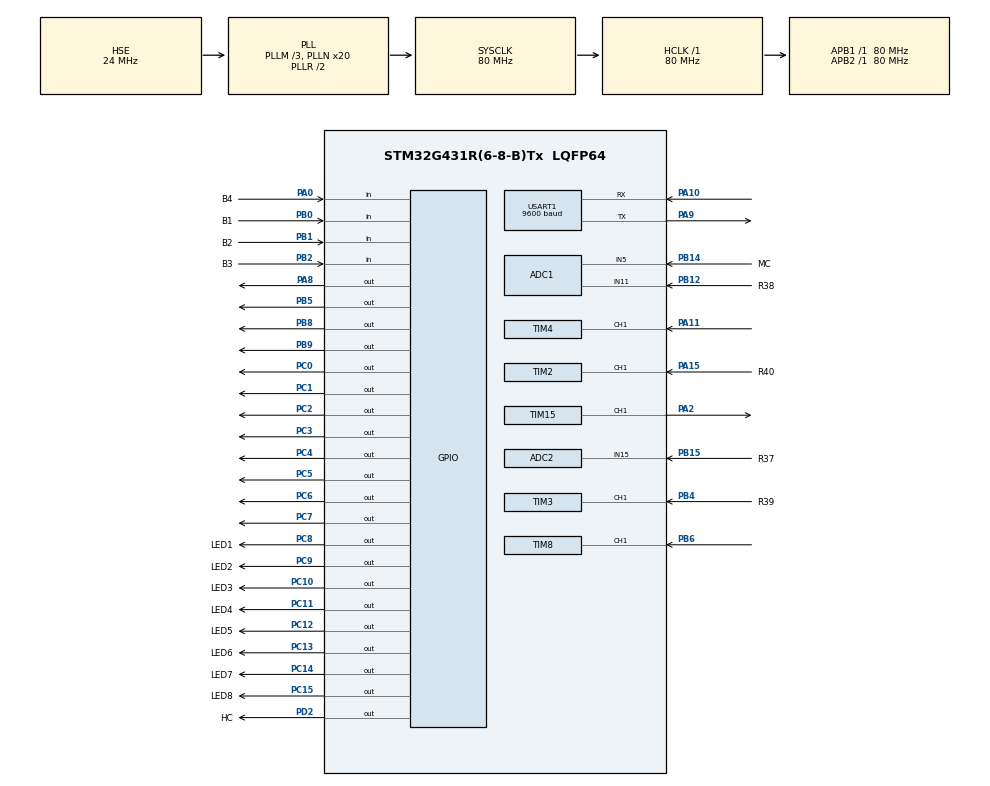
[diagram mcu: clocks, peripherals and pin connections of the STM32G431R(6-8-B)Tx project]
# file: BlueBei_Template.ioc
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ADC1.Channel-0\#ChannelRegularConversion=ADC_CHANNEL_11
ADC1.Channel-1\#ChannelRegularConversion=ADC_CHANNEL_5
ADC1.ContinuousConvMode=ENABLE
ADC1.DMAContinuousRequests=ENABLE
ADC1.NbrOfConversion=2
ADC1.NbrOfConversionFlag=1
ADC1.OffsetNumber-0\#ChannelRegularConversion=ADC_OFFSET_NONE
ADC1.OffsetNumber-1\#ChannelRegularConversion=ADC_OFFSET_NONE
ADC1.Rank-0\#ChannelRegularConversion=1
ADC1.Rank-1\#ChannelRegularConversion=2
ADC1.SamplingTime-0\#ChannelRegularConversion=ADC_SAMPLETIME_47CYCLES_5
ADC1.SamplingTime-1\#ChannelRegularConversion=ADC_SAMPLETIME_47CYCLES_5
ADC1.master=1
ADC2.Channel-1\#ChannelRegularConversion=ADC_CHANNEL_15
ADC2.ContinuousConvMode=ENABLE
ADC2.DMAContinuousRequests=ENABLE
ADC2.NbrOfConversionFlag=1
ADC2.OffsetNumber-1\#ChannelRegularConversion=ADC_OFFSET_NONE
ADC2.Rank-1\#ChannelRegularConversion=1
ADC2.SamplingTime-1\#ChannelRegularConversion=ADC_SAMPLETIME_47CYCLES_5
Dma.ADC1.0.Direction=DMA_PERIPH_TO_MEMORY
Dma.ADC1.0.EventEnable=DISABLE
Dma.ADC1.0.Instance=DMA1_Channel1
Dma.ADC1.0.MemDataAlignment=DMA_MDATAALIGN_HALFWORD
Dma.ADC1.0.MemInc=DMA_MINC_ENABLE
Dma.ADC1.0.Mode=DMA_CIRCULAR
Dma.ADC1.0.PeriphDataAlignment=DMA_PDATAALIGN_HALFWORD
Dma.ADC1.0.PeriphInc=DMA_PINC_DISABLE
Dma.ADC1.0.Polarity=HAL_DMAMUX_REQ_GEN_RISING
Dma.ADC1.0.Priority=DMA_PRIORITY_LOW
Dma.ADC1.0.RequestNumber=1
Dma.ADC1.0.SignalID=NONE
Dma.ADC1.0.SyncEnable=DISABLE
Dma.ADC1.0.SyncPolarity=HAL_DMAMUX_SYNC_NO_EVENT
Dma.ADC1.0.SyncRequestNumber=1
Dma.ADC1.0.SyncSignalID=NONE
Dma.ADC2.1.Direction=DMA_PERIPH_TO_MEMORY
Dma.ADC2.1.EventEnable=DISABLE
Dma.ADC2.1.Instance=DMA1_Channel2
Dma.ADC2.1.MemDataAlignment=DMA_MDATAALIGN_HALFWORD
Dma.ADC2.1.MemInc=DMA_MINC_ENABLE
Dma.ADC2.1.Mode=DMA_CIRCULAR
Dma.ADC2.1.PeriphDataAlignment=DMA_PDATAALIGN_HALFWORD
Dma.ADC2.1.PeriphInc=DMA_PINC_DISABLE
Dma.ADC2.1.Polarity=HAL_DMAMUX_REQ_GEN_RISING
Dma.ADC2.1.Priority=DMA_PRIORITY_LOW
Dma.ADC2.1.RequestNumber=1
Dma.ADC2.1.SignalID=NONE
Dma.ADC2.1.SyncEnable=DISABLE
Dma.ADC2.1.SyncPolarity=HAL_DMAMUX_SYNC_NO_EVENT
Dma.ADC2.1.SyncRequestNumber=1
Dma.ADC2.1.SyncSignalID=NONE
Dma.Request0=ADC1
Dma.Request1=ADC2
Dma.Request2=USART1_RX
Dma.Request3=USART1_TX
Dma.USART1_RX.2.Direction=DMA_PERIPH_TO_MEMORY
Dma.USART1_RX.2.EventEnable=DISABLE
Dma.USART1_RX.2.Instance=DMA1_Channel3
Dma.USART1_RX.2.MemDataAlignment=DMA_MDATAALIGN_BYTE
Dma.USART1_RX.2.MemInc=DMA_MINC_ENABLE
Dma.USART1_RX.2.Mode=DMA_NORMAL
Dma.USART1_RX.2.PeriphDataAlignment=DMA_PDATAALIGN_BYTE
Dma.USART1_RX.2.PeriphInc=DMA_PINC_DISABLE
Dma.USART1_RX.2.Polarity=HAL_DMAMUX_REQ_GEN_RISING
Dma.USART1_RX.2.Priority=DMA_PRIORITY_LOW
Dma.USART1_RX.2.RequestNumber=1
Dma.USART1_RX.2.SignalID=NONE
Dma.USART1_RX.2.SyncEnable=DISABLE
Dma.USART1_RX.2.SyncPolarity=HAL_DMAMUX_SYNC_NO_EVENT
Dma.USART1_RX.2.SyncRequestNumber=1
Dma.USART1_RX.2.SyncSignalID=NONE
Dma.USART1_TX.3.Direction=DMA_MEMORY_TO_PERIPH
Dma.USART1_TX.3.EventEnable=DISABLE
Dma.USART1_TX.3.Instance=DMA1_Channel4
Dma.USART1_TX.3.MemDataAlignment=DMA_MDATAALIGN_BYTE
Dma.USART1_TX.3.MemInc=DMA_MINC_ENABLE
Dma.USART1_TX.3.Mode=DMA_NORMAL
Dma.USART1_TX.3.PeriphDataAlignment=DMA_PDATAALIGN_BYTE
Dma.USART1_TX.3.PeriphInc=DMA_PINC_DISABLE
Dma.USART1_TX.3.Polarity=HAL_DMAMUX_REQ_GEN_RISING
Dma.USART1_TX.3.Priority=DMA_PRIORITY_LOW
Dma.USART1_TX.3.RequestNumber=1
Dma.USART1_TX.3.SignalID=NONE
Dma.USART1_TX.3.SyncEnable=DISABLE
Dma.USART1_TX.3.SyncPolarity=HAL_DMAMUX_SYNC_NO_EVENT
Dma.USART1_TX.3.SyncRequestNumber=1
Dma.USART1_TX.3.SyncSignalID=NONE
Mcu.Family=STM32G4
Mcu.Name=STM32G431R(6-8-B)Tx
Mcu.Package=LQFP64
NVIC.DMA1_Channel3_IRQn=true\:0\:0\:false\:false\:true\:true\:true\:true
NVIC.DMA1_Channel4_IRQn=true\:0\:0\:false\:false\:true\:true\:true\:true
NVIC.PriorityGroup=NVIC_PRIORITYGROUP_4
NVIC.TIM2_IRQn=true\:0\:0\:false\:false\:true\:true\:true\:true
NVIC.TIM3_IRQn=true\:0\:0\:false\:false\:true\:true\:true\:true
NVIC.TIM4_IRQn=true\:0\:0\:false\:false\:true\:true\:true\:true
NVIC.TIM6_DAC_IRQn=true\:0\:0\:false\:false\:true\:true\:true\:true
NVIC.TIM8_CC_IRQn=true\:0\:0\:false\:false\:true\:true\:true\:true
NVIC.USART1_IRQn=true\:0\:0\:false\:false\:true\:true\:true\:true
PA0.GPIO_Label=B4
PA0.GPIO_PuPd=GPIO_PULLUP
PA0.Signal=GPIO_Input
PA10.Mode=Asynchronous
PA10.Signal=USART1_RX
PA11.Signal=S_TIM4_CH1
PA15.GPIO_Label=R40
PA15.Signal=S_TIM2_CH1
PA2.Signal=S_TIM15_CH1
PA8.Signal=GPIO_Output
PA9.Mode=Asynchronous
PA9.Signal=USART1_TX
PB0.GPIO_Label=B1
PB0.GPIO_PuPd=GPIO_PULLUP
PB0.Signal=GPIO_Input
PB1.GPIO_Label=B2
PB1.GPIO_PuPd=GPIO_PULLUP
PB1.Signal=GPIO_Input
PB12.GPIO_Label=R38
PB12.Mode=IN11-Single-Ended
PB12.Signal=ADC1_IN11
PB14.GPIO_Label=MC
PB14.Mode=IN5-Single-Ended
PB14.Signal=ADC1_IN5
PB15.GPIO_Label=R37
PB15.Mode=IN15-Single-Ended
PB15.Signal=ADC2_IN15
PB2.GPIO_Label=B3
PB2.GPIO_PuPd=GPIO_PULLUP
PB2.Signal=GPIO_Input
PB4.GPIO_Label=R39
PB4.Signal=S_TIM3_CH1
PB5.Signal=GPIO_Output
PB6.Signal=S_TIM8_CH1
PB8-BOOT0.Signal=GPIO_Output
PB9.Signal=GPIO_Output
PC0.Signal=GPIO_Output
PC1.Signal=GPIO_Output
PC10.GPIO_Label=LED3
PC10.Signal=GPIO_Output
PC11.GPIO_Label=LED4
PC11.Signal=GPIO_Output
PC12.GPIO_Label=LED5
PC12.Signal=GPIO_Output
PC13.GPIO_Label=LED6
PC13.Signal=GPIO_Output
PC14-OSC32_IN.GPIO_Label=LED7
PC14-OSC32_IN.Signal=GPIO_Output
PC15-OSC32_OUT.GPIO_Label=LED8
PC15-OSC32_OUT.Signal=GPIO_Output
PC2.Signal=GPIO_Output
PC3.Signal=GPIO_Output
PC4.Signal=GPIO_Output
PC5.Signal=GPIO_Output
PC6.Signal=GPIO_Output
PC7.Signal=GPIO_Output
PC8.GPIO_Label=LED1
PC8.Signal=GPIO_Output
PC9.GPIO_Label=LED2
PC9.Signal=GPIO_Output
PD2.GPIO_Label=HC
PD2.GPIO_PuPd=GPIO_PULLDOWN
PD2.Signal=GPIO_Output
PF0-OSC_IN.Mode=HSE-External-Oscillator
PF0-OSC_IN.Signal=RCC_OSC_IN
PF1-OSC_OUT.Mode=HSE-External-Oscillator
PF1-OSC_OUT.Signal=RCC_OSC_OUT
ProjectManager.HeapSize=0x200
ProjectManager.StackSize=0x400
ProjectManager.TargetToolchain=MDK-ARM V5.27
RCC.ADC12Freq_Value=80000000
RCC.AHBFreq_Value=80000000
RCC.APB1Freq_Value=80000000
RCC.APB1TimFreq_Value=80000000
RCC.APB2Freq_Value=80000000
RCC.APB2TimFreq_Value=80000000
RCC.CortexFreq_Value=80000000
RCC.EXTERNAL_CLOCK_VALUE=12288000
RCC.HCLKFreq_Value=80000000
RCC.HSE_VALUE=24000000
RCC.HSI48_VALUE=48000000
RCC.HSI_VALUE=16000000
RCC.LSE_VALUE=32768
RCC.PLLM=RCC_PLLM_DIV3
RCC.PLLN=20
RCC.PLLSourceVirtual=RCC_PLLSOURCE_HSE
RCC.SYSCLKFreq_VALUE=80000000
RCC.SYSCLKSource=RCC_SYSCLKSOURCE_PLLCLK
RCC.USART1CLockSelection=RCC_USART1CLKSOURCE_SYSCLK
RCC.USBFreq_Value=80000000
RCC.VCOOutputFreq_Value=160000000
SH.S_TIM15_CH1.0=TIM15_CH1,PWM Generation1 CH1
SH.S_TIM2_CH1.0=TIM2_CH1,PWM_Input_1
SH.S_TIM3_CH1.0=TIM3_CH1,PWM_Input_1
SH.S_TIM4_CH1.0=TIM4_CH1,PWM_Input_1
SH.S_TIM8_CH1.0=TIM8_CH1,PWM_Input_1
TIM15.Channel-PWM\ Generation1\ CH1=TIM_CHANNEL_1
TIM15.PeriodNoDither=100 - 1
TIM15.Prescaler=80-1
TIM15.PulseNoDither_1=60
TIM2.Prescaler=80-1
TIM2.TIM_MasterSlaveMode=TIM_MASTERSLAVEMODE_ENABLE
TIM3.Prescaler=80-1
TIM3.TIM_MasterSlaveMode=TIM_MASTERSLAVEMODE_ENABLE
TIM4.ICPolarity_1=TIM_INPUTCHANNELPOLARITY_RISING
TIM4.Prescaler=80-1
TIM4.TIM_MasterSlaveMode=TIM_MASTERSLAVEMODE_ENABLE
TIM6.PeriodNoDither=10000-1
TIM6.Prescaler=80-1
TIM8.Prescaler=80-1
TIM8.TIM_MasterSlaveMode=TIM_MASTERSLAVEMODE_ENABLE
USART1.BaudRate=9600
USART1.VirtualMode-Asynchronous=VM_ASYNC
VP_SYS_VS_DBSignals.Mode=DisableDeadBatterySignals
VP_TIM15_VS_ClockSourceINT.Mode=Internal
VP_TIM2_VS_ClockSourceINT.Mode=Internal
VP_TIM3_VS_ClockSourceINT.Mode=Internal
VP_TIM4_VS_ClockSourceINT.Mode=Internal
VP_TIM6_VS_ClockSourceINT.Mode=Enable_Timer
VP_TIM8_VS_ClockSourceINT.Mode=Internal
board=custom

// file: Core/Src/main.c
/* USER CODE BEGIN Header */
/**
  ******************************************************************************
  * @file           : main.c
  * @brief          : Main program body
  ******************************************************************************
  * @attention
  *
  * Copyright (c) 2025 STMicroelectronics.
  * All rights reserved.
  *
  * This software is licensed under terms that can be found in the LICENSE file
  * in the root directory of this software component.
  * If no LICENSE file comes with this software, it is provided AS-IS.
  *
  ******************************************************************************
  */
/* USER CODE END Header */
#include "main.h"
#include "adc.h"
#include "dma.h"
#include "tim.h"
#include "usart.h"
#include "gpio.h"

/* USER CODE BEGIN Includes */
#include "header_file.h"
/* USER CODE END Includes */

void SystemClock_Config(void);

int main(void)
{

  /* MCU Configuration--------------------------------------------------------*/

  /* Reset of all peripherals, Initializes the Flash interface and the Systick. */
  HAL_Init();

  /* Configure the system clock */
  SystemClock_Config();

  /* Initialize all configured peripherals */
  MX_GPIO_Init();
  MX_DMA_Init();
  MX_TIM6_Init();
  MX_ADC1_Init();
  MX_ADC2_Init();
  MX_USART1_UART_Init();
  MX_TIM2_Init();
  MX_TIM3_Init();
  MX_TIM8_Init();
  MX_TIM15_Init();
  MX_TIM4_Init();
  /* USER CODE BEGIN 2 */
  Window_Init();      // 屏幕初始化（要在LED初始化之前，因为两者有共用引脚以防干扰）

  I2C_Init();         // I2C初始化

  LED_Init();         // LED初始化

  Key_Init();         // 按键初始化

  ADC_Init();         // ADC初始化

  PWM_Init();         // PWM初始化

  Serial_Init();       // 串口初始化
  /* USER CODE END 2 */

  /* Infinite loop */
  /* USER CODE BEGIN WHILE */
  while (1)
  {
    // 再外加滴答定时器/RTC实时时钟显示/USB通信/蜂鸣器/MCP可编程电阻
#if 0    // LCD显示屏测试程序
    Window_Demo();
#endif

#if 0    // LED灯测试程序
    LED_Demo();
#endif

#if 0    // 按键测试程序
    Key_Demo();
#endif

#if 0    // ADC采集
    ADC_Demo();
#endif

#if 1    // 输入捕获测试程序
    PWM_Demo();
#endif

#if 0    // IIC测试程序------E2PROM
    E2prom_Demo();
#endif

#if 0    // 串口测试程序
    Serial_Demo();
#endif
    /* USER CODE END WHILE */

  }
}

void SystemClock_Config(void)
{
  RCC_OscInitTypeDef RCC_OscInitStruct = {0};
  RCC_ClkInitTypeDef RCC_ClkInitStruct = {0};

  /** Configure the main internal regulator output voltage
  */
  HAL_PWREx_ControlVoltageScaling(PWR_REGULATOR_VOLTAGE_SCALE1);

  /** Initializes the RCC Oscillators according to the specified parameters
  * in the RCC_OscInitTypeDef structure.
  */
  RCC_OscInitStruct.OscillatorType = RCC_OSCILLATORTYPE_HSE;
  RCC_OscInitStruct.HSEState = RCC_HSE_ON;
  RCC_OscInitStruct.PLL.PLLState = RCC_PLL_ON;
  RCC_OscInitStruct.PLL.PLLSource = RCC_PLLSOURCE_HSE;
  RCC_OscInitStruct.PLL.PLLM = RCC_PLLM_DIV3;
  RCC_OscInitStruct.PLL.PLLN = 20;
  RCC_OscInitStruct.PLL.PLLP = RCC_PLLP_DIV2;
  RCC_OscInitStruct.PLL.PLLQ = RCC_PLLQ_DIV2;
  RCC_OscInitStruct.PLL.PLLR = RCC_PLLR_DIV2;
  if (HAL_RCC_OscConfig(&RCC_OscInitStruct) != HAL_OK)
  {
    Error_Handler();
  }

  /** Initializes the CPU, AHB and APB buses clocks
  */
  RCC_ClkInitStruct.ClockType = RCC_CLOCKTYPE_HCLK|RCC_CLOCKTYPE_SYSCLK
                              |RCC_CLOCKTYPE_PCLK1|RCC_CLOCKTYPE_PCLK2;
  RCC_ClkInitStruct.SYSCLKSource = RCC_SYSCLKSOURCE_PLLCLK;
  RCC_ClkInitStruct.AHBCLKDivider = RCC_SYSCLK_DIV1;
  RCC_ClkInitStruct.APB1CLKDivider = RCC_HCLK_DIV1;
  RCC_ClkInitStruct.APB2CLKDivider = RCC_HCLK_DIV1;

  if (HAL_RCC_ClockConfig(&RCC_ClkInitStruct, FLASH_LATENCY_2) != HAL_OK)
  {
    Error_Handler();
  }
}

void Error_Handler(void)
{
  __disable_irq();
  while (1)
  {
  }
}
